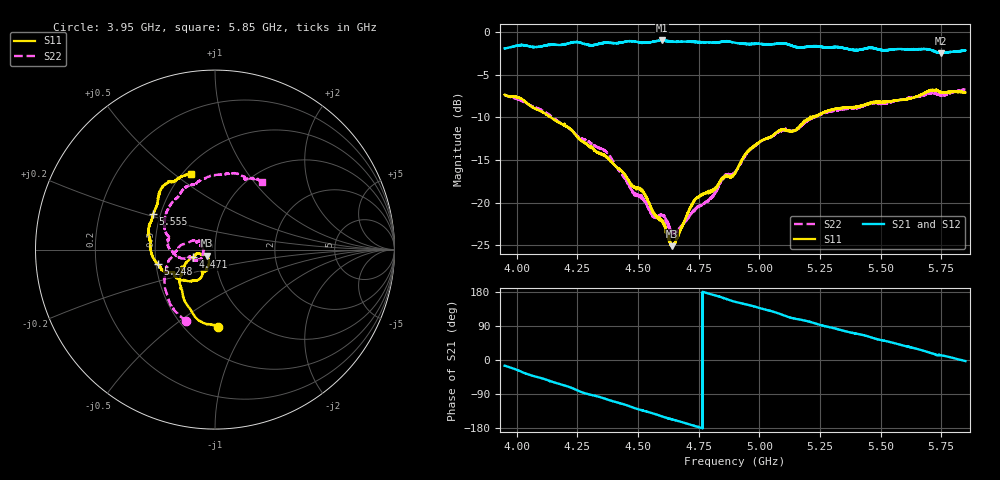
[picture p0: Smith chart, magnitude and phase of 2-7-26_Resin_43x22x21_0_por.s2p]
# GHZ S RI R 50.000000000000
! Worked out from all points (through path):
!   4501 points, 3.95 GHz to 5.85 GHz, reference 50 ohm
!   highest |S21| = -0.96 dB at 4.6 GHz (marker M1); lowest = -2.5 dB at 5.75 GHz (marker M2)
!   group delay of S21, straight-line fit = 505 ps
!   lowest |S11| = -25.1 dB at 4.641 GHz (marker M3), VSWR 1.12, Z = 45.6 - j3.02 ohm
!   |S11| at or under -10 dB: 4.141 GHz to 5.21 GHz (1.069 GHz wide, 22.9 % of centre); 5.210561 GHz to 5.214754 GHz (4.193 MHz wide, 0.0804 % of centre); 5.21516 GHz to 5.216166 GHz (1.007 MHz wide, 0.0193 % of centre)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
!   |S22| runs from -23.8 to -6.7 dB; largest |S21 - S12| = 0.049
!   S11 on the Smith chart (normalised r, x): 3.95 GHz: 0.71, -0.75; 4.471 GHz: 0.78, -0.07; 5.248 GHz: 0.51, -0.09; 5.555 GHz: 0.46, +0.21; 5.85 GHz: 0.55, +0.58
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3.95  0.0187 -0.4296  0.7771 -0.21  0.7751 -0.2018  -0.1602 -0.3984
4.016289  -0.0787 -0.4009  0.7269 -0.4243  0.736 -0.4134  -0.2443 -0.3165
4.126489  -0.1735 -0.2764  0.5075 -0.6714  0.5098 -0.6671  -0.2815 -0.1783
4.216844  -0.1949 -0.1912  0.2753 -0.8183  0.2841 -0.8132  -0.2616 -0.0746
4.267089  -0.1857 -0.1355  0.0803 -0.8619  0.0875 -0.8678  -0.2341 -0.036
4.373067  -0.1659 -0.08  -0.2096 -0.8428  -0.1944 -0.8451  -0.1943 0.0212
4.471444  -0.1212 -0.0411  -0.4923 -0.74  -0.4834 -0.7519  -0.1096 0.0484
4.583756  -0.0763 -0.0276  -0.7332 -0.5048  -0.719 -0.5224  -0.0793 0.0254
4.600222  -0.073 -0.0274  -0.768 -0.4603  -0.7556 -0.4803  -0.0816 0.0213
4.640756  -0.0446 -0.033  -0.8091 -0.3452  -0.8038 -0.3625  -0.0663 0.00295
4.736178  -0.0417 -0.0956  -0.8703 -0.0854  -0.8727 -0.1  -0.078 -0.0468
4.9  -0.0699 -0.132  -0.7778 0.3864  -0.7901 0.3694  -0.1453 -0.0404
4.9646  -0.1141 -0.172  -0.6892 0.5026  -0.6985 0.4916  -0.2028 -0.0423
5.109  -0.2248 -0.1428  -0.3815 0.7713  -0.4016 0.7655  -0.2669 0.0549
5.217089  -0.2961 -0.1094  -0.1324 0.8159  -0.1564 0.8105  -0.2821 0.1347
5.248333  -0.3181 -0.0819  -0.0444 0.8212  -0.0712 0.825  -0.2793 0.1695
5.448044  -0.3701 0.0889  0.374 0.7164  0.3504 0.7321  -0.1781 0.3354
5.533756  -0.3498 0.1766  0.5243 0.588  0.5054 0.6025  -0.1037 0.3709
5.555289  -0.3447 0.1962  0.5628 0.5597  0.5416 0.5758  -0.0852 0.3839
5.688711  -0.3085 0.3219  0.739 0.3006  0.7288 0.3207  0.0833 0.4247
5.749933  -0.2322 0.3758  0.7357 0.1646  0.7323 0.1907  0.166 0.3932
5.85  -0.135 0.4223  0.7825 -0.0398  0.7865 -0.0201  0.2606 0.378
